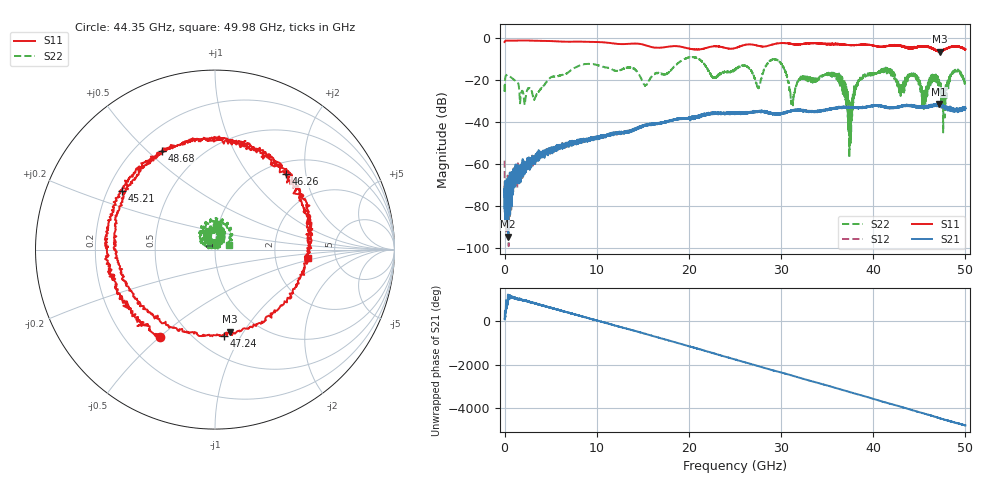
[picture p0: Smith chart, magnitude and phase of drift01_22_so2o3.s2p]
!Created with skrf (http://scikit-rf.org).
# Hz S RI R 50.0
!freq ReS11 ImS11 ReS21 ImS21 ReS12 ImS12 ReS22 ImS22
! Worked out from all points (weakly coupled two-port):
!   10001 points, 300 kHz to 50 GHz, reference 50 ohm
!   highest |S21| = -31.53 dB at 47.17 GHz (marker M1); lowest = -94.6 dB at 400.3 MHz (marker M2)
!   lowest |S11| = -6.6 dB at 47.22 GHz (marker M3), VSWR 2.74, Z = 37.2 - j43.5 ohm
!   |S11| at or under -10 dB: nowhere
!   |S22| runs from -57.2 to -9.2 dB; largest |S21 - S12| = 0.0045
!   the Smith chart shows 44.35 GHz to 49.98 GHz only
!   S11 on the Smith chart (normalised r, x): 44.35 GHz: 0.34, -0.50; 45.21 GHz: 0.26, +0.27; 46.26 GHz: 1.22, +1.55; 47.24 GHz: 0.67, -0.84; 48.68 GHz: 0.31, +0.56; 49.98 GHz: 3.12, -0.39
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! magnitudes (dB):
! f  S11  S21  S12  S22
! 300 kHz  -2.1  -73.3  -58.5  -22.4
! 400.3 MHz  -1.4  -94.6  -73.0  -18.0
! 3.285 GHz  -1.5  -58.6  -57.4  -28.9
! 8.335 GHz  -1.9  -48.9  -49.3  -12.9
! 16.67 GHz  -4.8  -40.8  -41.0  -16.7
! 25 GHz  -5.0  -36.0  -35.8  -15.3
! 29.59 GHz  -2.8  -36.5  -36.3  -10.6
! 31.23 GHz  -3.1  -34.7  -34.5  -31.2
! 33.34 GHz  -2.6  -35.2  -35.4  -20.1
! 36.36 GHz  -3.2  -33.4  -33.2  -22.1
! 37.47 GHz  -3.6  -33.1  -33.3  -35.5
! 38.64 GHz  -3.4  -33.2  -33.4  -19.9
! 41.67 GHz  -3.9  -33.2  -33.2  -15.9
! 44.35 GHz  -4.8  -33.0  -32.5  -17.3
! 45.21 GHz  -4.2  -33.2  -33.2  -23.5
! 46.26 GHz  -4.8  -32.5  -32.5  -18.1
! 47.17 GHz  -6.4  -31.5  -31.9  -21.4
! 47.22 GHz  -6.6  -32.0  -32.1  -25.0
! 47.24 GHz  -6.3  -32.0  -31.9  -25.6
! 48.68 GHz  -4.1  -34.2  -33.9  -16.7
! 49.98 GHz  -5.7  -33.9  -33.3  -21.8
! 50 GHz  -5.6  -33.3  -33.2  -21.7
